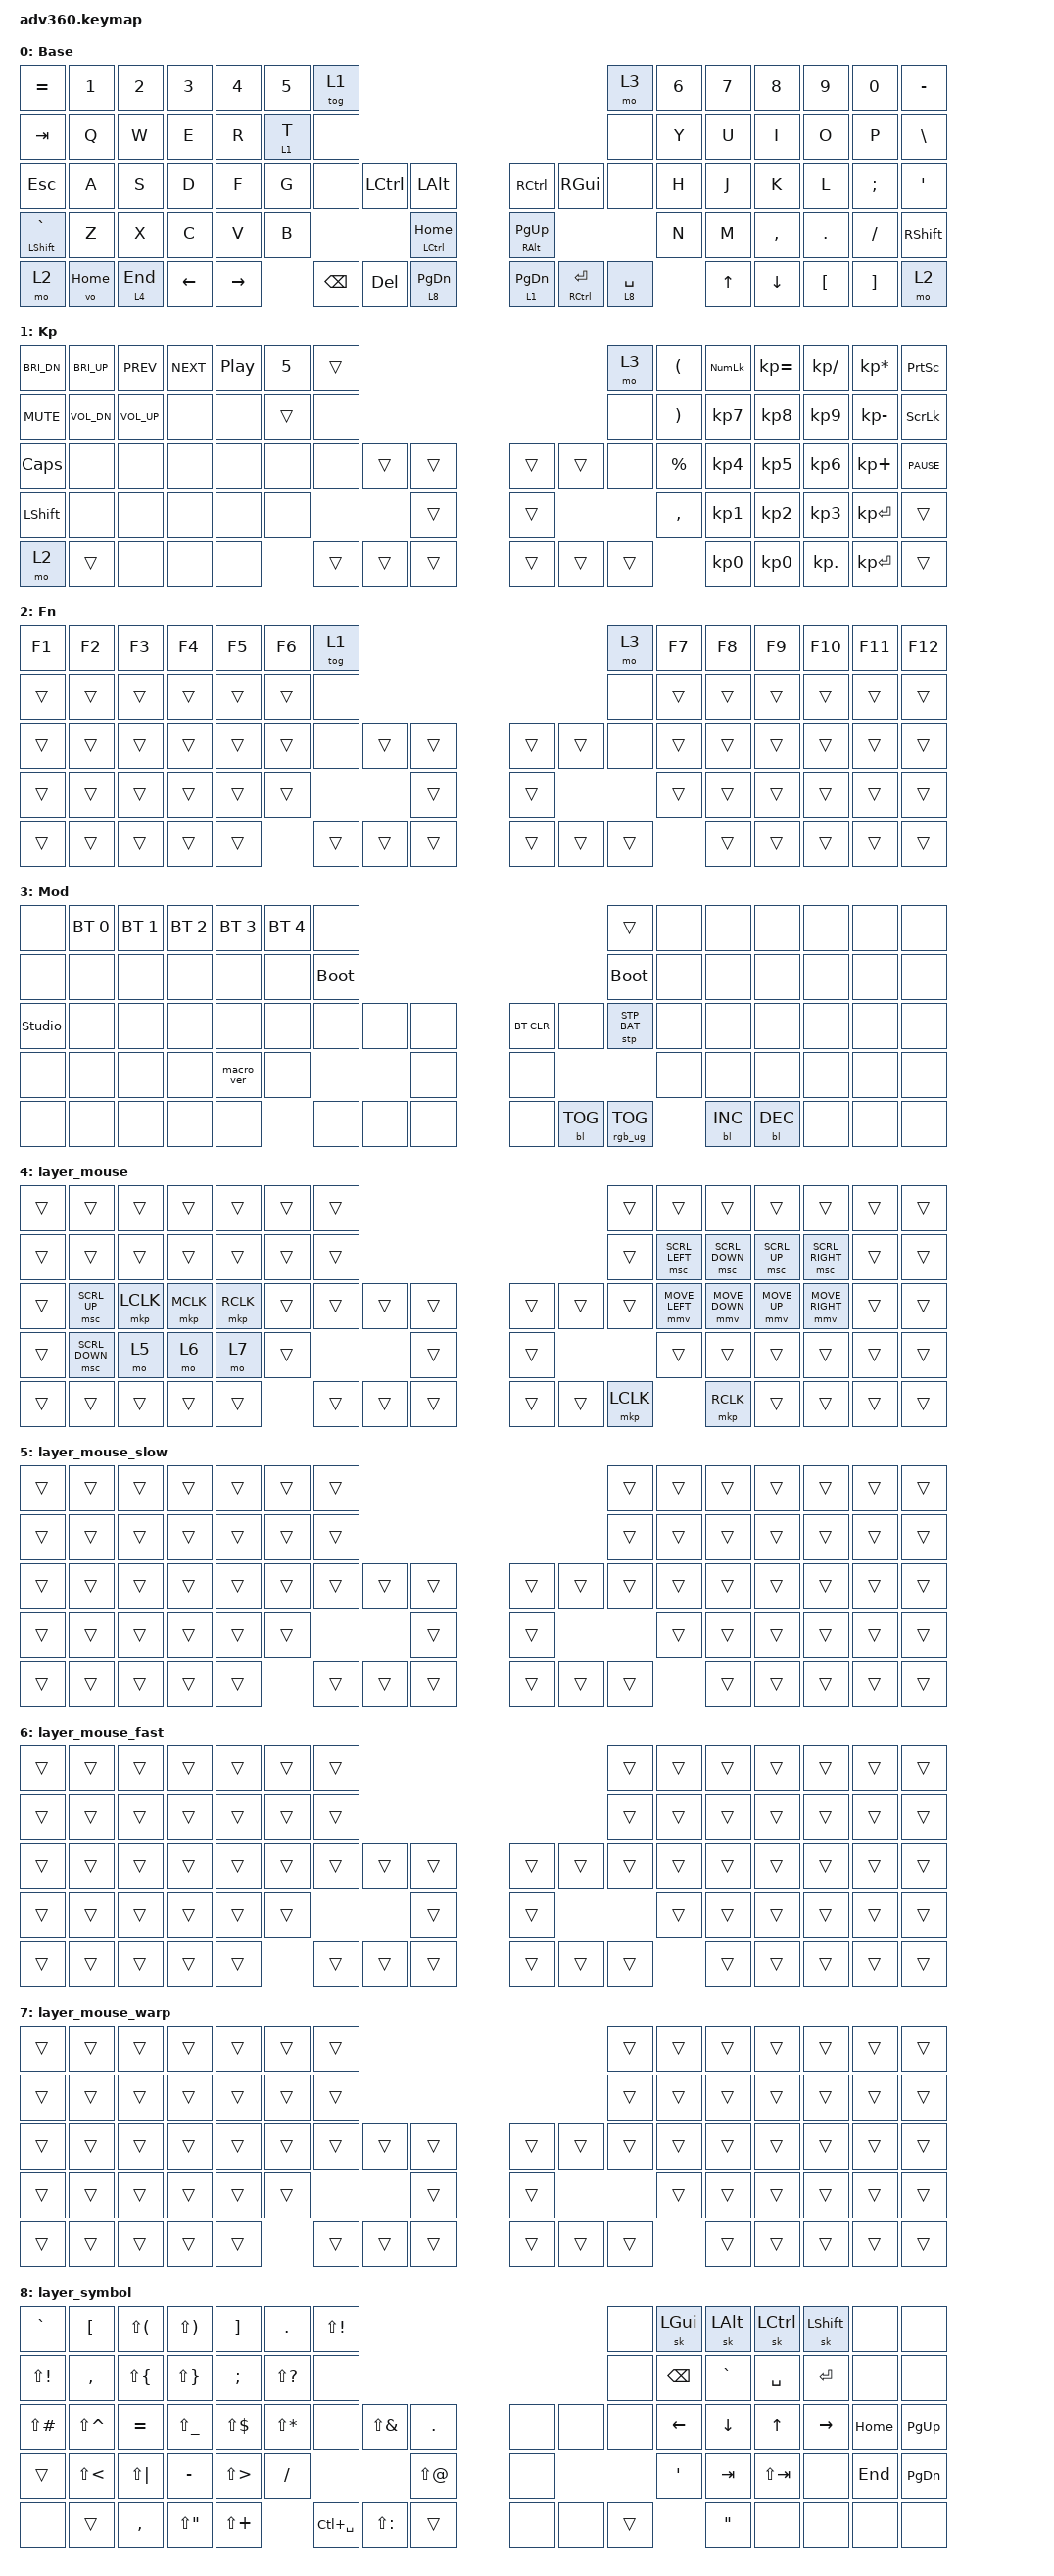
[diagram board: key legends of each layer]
#include <dt-bindings/zmk/stp.h>
#include <dt-bindings/zmk/input_transform.h>
#include <input/processors.dtsi>
#include <behaviors.dtsi>
#include <dt-bindings/zmk/backlight.h>
#include <dt-bindings/zmk/bt.h>
#include <dt-bindings/zmk/keys.h>
#include <dt-bindings/zmk/pointing.h>
#include <dt-bindings/zmk/rgb.h>

#define LAYER_default_layer 0
#define LAYER_keypad 1
#define LAYER_fn 2
#define LAYER_mod 3
#define LAYER_mouse 4
#define LAYER_mouse_slow 5
#define LAYER_mouse_fast 6
#define LAYER_mouse_warp 7
#define LAYER_symbol 8

/* Input Listeners */
/*
&mmv_input_listener {
    LAYER_mouse_slow {
        layers = <LAYER_mouse_slow>;
        input-processors = <&zip_xy_scaler 1 9>;
    };
    LAYER_mouse_fast {
        layers = <LAYER_mouse_fast>;
        input-processors = <&zip_xy_scaler 3 1>;
    };
    LAYER_mouse_warp {
        layers = <LAYER_mouse_warp>;
        input-processors = <&zip_xy_scaler 12 1>;
    };
};
*/
/*
&msc_input_listener {
    LAYER_mouse_slow {
        layers = <LAYER_mouse_slow>;
        input-processors = <&zip_scroll_scaler 1 9>;
    };
    LAYER_mouse_fast {
        layers = <LAYER_mouse_fast>;
        input-processors = <&zip_scroll_scaler 3 1>;
    };
    LAYER_mouse_warp {
        layers = <LAYER_mouse_warp>;
        input-processors = <&zip_scroll_scaler 12 1>;
    };
};
*/

/ {
    behaviors {
        #include "macros.dtsi"
      #include "version.dtsi"

        hm: homerow_mods {
            compatible = "zmk,behavior-hold-tap";
            label = "HOMEROW_MODS";
            #binding-cells = <2>;
            tapping-term-ms = <200>;
            quick_tap_ms = <175>;
            flavor = "tap-preferred";
            bindings = <&kp>, <&kp>;
        };

        hl: hl {
            compatible = "zmk,behavior-hold-tap";
            label = "HL";
            bindings = <&mo>, <&kp>;

            #binding-cells = <2>;
            flavor = "tap-preferred";
            tapping-term-ms = <200>;
        };

        mvo: mvo {
            compatible = "zmk,behavior-hold-tap";
            label = "MVO";
            bindings = <&vo>, <&kp>;

            #binding-cells = <2>;
            tapping-term-ms = <150>;
        };
    };

    macros {
        vo: vo {
            label = "&VO";
            compatible = "zmk,behavior-macro";
            #binding-cells = <0>;
            bindings =
                <&macro_press>,
                <&kp LCTRL &kp LALT>,
                <&macro_pause_for_release>,
                <&macro_release>,
                <&kp LCTRL &kp LALT>;
        };
    };

    keymap {
        compatible = "zmk,keymap";

        layer_default_layer {
            display-name = "Base";
            bindings = <
&kp EQUAL        &kp N1       &kp N2     &kp N3    &kp N4     &kp N5   &tog 1                                                                   &mo 3        &kp N6  &kp N7  &kp N8     &kp N9    &kp N0    &kp MINUS
&kp TAB          &kp Q        &kp W      &kp E     &kp R      &lt 1 T  &none                                                                    &none        &kp Y   &kp U   &kp I      &kp O     &kp P     &kp BSLH
&kp ESC          &kp A        &kp S      &kp D     &kp F      &kp G    &none     &kp LCTRL  &kp LALT             &kp RCTRL       &kp RGUI       &none        &kp H   &kp J   &kp K      &kp L     &kp SEMI  &kp SQT
&mt LSHFT GRAVE  &kp Z        &kp X      &kp C     &kp V      &kp B                         &mt LCTRL HOME       &mt RALT PG_UP                              &kp N   &kp M   &kp COMMA  &kp DOT   &kp FSLH  &kp RSHFT
&mo 2            &mvo 0 HOME  &lt 4 END  &kp LEFT  &kp RIGHT           &kp BSPC  &kp DEL    &lt 8 PAGE_DOWN      &lt 1 PG_DN     &mt RCTRL RET  &lt 8 SPACE          &kp UP  &kp DOWN   &kp LBKT  &kp RBKT  &mo 2
            >;
        };

        layer_keypad {
            display-name = "Kp";
            bindings = <
&kp C_BRI_DN  &kp C_BRI_UP  &kp C_PREV    &kp C_NEXT  &kp C_PP  &kp N5  &trans                                      &mo 3   &kp LEFT_PARENTHESIS   &kp KP_NUM  &kp KP_EQUAL  &kp KP_DIVIDE  &kp KP_MULTIPLY  &kp PRINTSCREEN
&kp C_MUTE    &kp C_VOL_DN  &kp C_VOL_UP  &none       &none     &trans  &none                                       &none   &kp RIGHT_PARENTHESIS  &kp KP_N7   &kp KP_N8     &kp KP_N9      &kp KP_MINUS     &kp SCROLLLOCK
&kp CAPS      &none         &none         &none       &none     &none   &none   &trans  &trans      &trans  &trans  &none   &kp PERCENT            &kp KP_N4   &kp KP_N5     &kp KP_N6      &kp KP_PLUS      &kp C_PAUSE
&kp LSHFT     &none         &none         &none       &none     &none                   &trans      &trans                  &kp COMMA              &kp KP_N1   &kp KP_N2     &kp KP_N3      &kp KP_ENTER     &trans
&mo 2         &trans        &none         &none       &none             &trans  &trans  &trans      &trans  &trans  &trans                         &kp KP_N0   &kp KP_N0     &kp KP_DOT     &kp KP_ENTER     &trans
            >;
        };

        layer_fn {
            display-name = "Fn";
            bindings = <
&kp F1  &kp F2  &kp F3  &kp F4  &kp F5  &kp F6  &tog 1                                      &mo 3   &kp F7  &kp F8  &kp F9  &kp F10  &kp F11  &kp F12
&trans  &trans  &trans  &trans  &trans  &trans  &none                                       &none   &trans  &trans  &trans  &trans   &trans   &trans
&trans  &trans  &trans  &trans  &trans  &trans  &none   &trans  &trans      &trans  &trans  &none   &trans  &trans  &trans  &trans   &trans   &trans
&trans  &trans  &trans  &trans  &trans  &trans                  &trans      &trans                  &trans  &trans  &trans  &trans   &trans   &trans
&trans  &trans  &trans  &trans  &trans          &trans  &trans  &trans      &trans  &trans  &trans          &trans  &trans  &trans   &trans   &trans
            >;
        };

        layer_mod {
            display-name = "Mod";
            bindings = <
&none           &bt BT_SEL 0  &bt BT_SEL 1  &bt BT_SEL 2  &bt BT_SEL 3  &bt BT_SEL 4  &none                                                  &trans           &none  &none       &none       &none  &none  &none
&none           &none         &none         &none         &none         &none         &bootloader                                            &bootloader      &none  &none       &none       &none  &none  &none
&studio_unlock  &none         &none         &none         &none         &none         &none        &none  &none      &bt BT_CLR  &none       &stp STP_BAT     &none  &none       &none       &none  &none  &none
&none           &none         &none         &none         &macro_ver    &none                             &none      &none                                    &none  &none       &none       &none  &none  &none
&none           &none         &none         &none         &none                       &none        &none  &none      &none       &bl BL_TOG  &rgb_ug RGB_TOG         &bl BL_INC  &bl BL_DEC  &none  &none  &none
            >;
        };

        layer_mouse {
            bindings = <
&trans  &trans          &trans     &trans     &trans     &trans  &trans                                      &trans     &trans          &trans          &trans        &trans           &trans  &trans
&trans  &trans          &trans     &trans     &trans     &trans  &trans                                      &trans     &msc SCRL_LEFT  &msc SCRL_DOWN  &msc SCRL_UP  &msc SCRL_RIGHT  &trans  &trans
&trans  &msc SCRL_UP    &mkp LCLK  &mkp MCLK  &mkp RCLK  &trans  &trans  &trans  &trans      &trans  &trans  &trans     &mmv MOVE_LEFT  &mmv MOVE_DOWN  &mmv MOVE_UP  &mmv MOVE_RIGHT  &trans  &trans
&trans  &msc SCRL_DOWN  &mo 5      &mo 6      &mo 7      &trans                  &trans      &trans                     &trans          &trans          &trans        &trans           &trans  &trans
&trans  &trans          &trans     &trans     &trans             &trans  &trans  &trans      &trans  &trans  &mkp LCLK                  &mkp RCLK       &trans        &trans           &trans  &trans
            >;
        };

        layer_mouse_slow {
            bindings = <
&trans  &trans  &trans  &trans  &trans  &trans  &trans                                      &trans  &trans  &trans  &trans  &trans  &trans  &trans
&trans  &trans  &trans  &trans  &trans  &trans  &trans                                      &trans  &trans  &trans  &trans  &trans  &trans  &trans
&trans  &trans  &trans  &trans  &trans  &trans  &trans  &trans  &trans      &trans  &trans  &trans  &trans  &trans  &trans  &trans  &trans  &trans
&trans  &trans  &trans  &trans  &trans  &trans                  &trans      &trans                  &trans  &trans  &trans  &trans  &trans  &trans
&trans  &trans  &trans  &trans  &trans          &trans  &trans  &trans      &trans  &trans  &trans          &trans  &trans  &trans  &trans  &trans
            >;
        };

        layer_mouse_fast {
            bindings = <
&trans  &trans  &trans  &trans  &trans  &trans  &trans                                      &trans  &trans  &trans  &trans  &trans  &trans  &trans
&trans  &trans  &trans  &trans  &trans  &trans  &trans                                      &trans  &trans  &trans  &trans  &trans  &trans  &trans
&trans  &trans  &trans  &trans  &trans  &trans  &trans  &trans  &trans      &trans  &trans  &trans  &trans  &trans  &trans  &trans  &trans  &trans
&trans  &trans  &trans  &trans  &trans  &trans                  &trans      &trans                  &trans  &trans  &trans  &trans  &trans  &trans
&trans  &trans  &trans  &trans  &trans          &trans  &trans  &trans      &trans  &trans  &trans          &trans  &trans  &trans  &trans  &trans
            >;
        };

        layer_mouse_warp {
            bindings = <
&trans  &trans  &trans  &trans  &trans  &trans  &trans                                      &trans  &trans  &trans  &trans  &trans  &trans  &trans
&trans  &trans  &trans  &trans  &trans  &trans  &trans                                      &trans  &trans  &trans  &trans  &trans  &trans  &trans
&trans  &trans  &trans  &trans  &trans  &trans  &trans  &trans  &trans      &trans  &trans  &trans  &trans  &trans  &trans  &trans  &trans  &trans
&trans  &trans  &trans  &trans  &trans  &trans                  &trans      &trans                  &trans  &trans  &trans  &trans  &trans  &trans
&trans  &trans  &trans  &trans  &trans          &trans  &trans  &trans      &trans  &trans  &trans          &trans  &trans  &trans  &trans  &trans
            >;
        };

        layer_symbol {
            bindings = <
&kp GRAVE      &kp LBKT       &kp LS(LPAR)  &kp LS(RPAR)   &kp RBKT      &kp DOT        &kp LS(EXCL)                                                &none   &sk LGUI        &sk LALT           &sk LCTRL     &sk LSHFT        &none     &none
&kp LS(EXCL)   &kp COMMA      &kp LS(LBRC)  &kp LS(RBRC)   &kp SEMI      &kp LS(QMARK)  &none                                                       &none   &kp BACKSPACE   &kp GRAVE          &kp SPACE     &kp RET          &none     &none
&kp LS(POUND)  &kp LS(CARET)  &kp EQUAL     &kp LS(UNDER)  &kp LS(DLLR)  &kp LS(STAR)   &none          &kp LS(AMPS)   &kp DOT         &none  &none  &none   &kp LEFT_ARROW  &kp DOWN_ARROW     &kp UP_ARROW  &kp RIGHT_ARROW  &kp HOME  &kp PG_UP
&trans         &kp LS(LT)     &kp LS(PIPE)  &kp MINUS      &kp LS(GT)    &kp FSLH                                     &kp LS(AT)      &none                 &kp SQT         &kp TAB            &kp LS(TAB)   &none            &kp END   &kp PG_DN
&none          &trans         &kp COMMA     &kp LS(DQT)    &kp LS(PLUS)                 &kp LC(SPACE)  &kp LS(COLON)  &trans          &none  &none  &trans                  &kp DOUBLE_QUOTES  &none         &none            &none     &none
            >;
        };
    };
};
